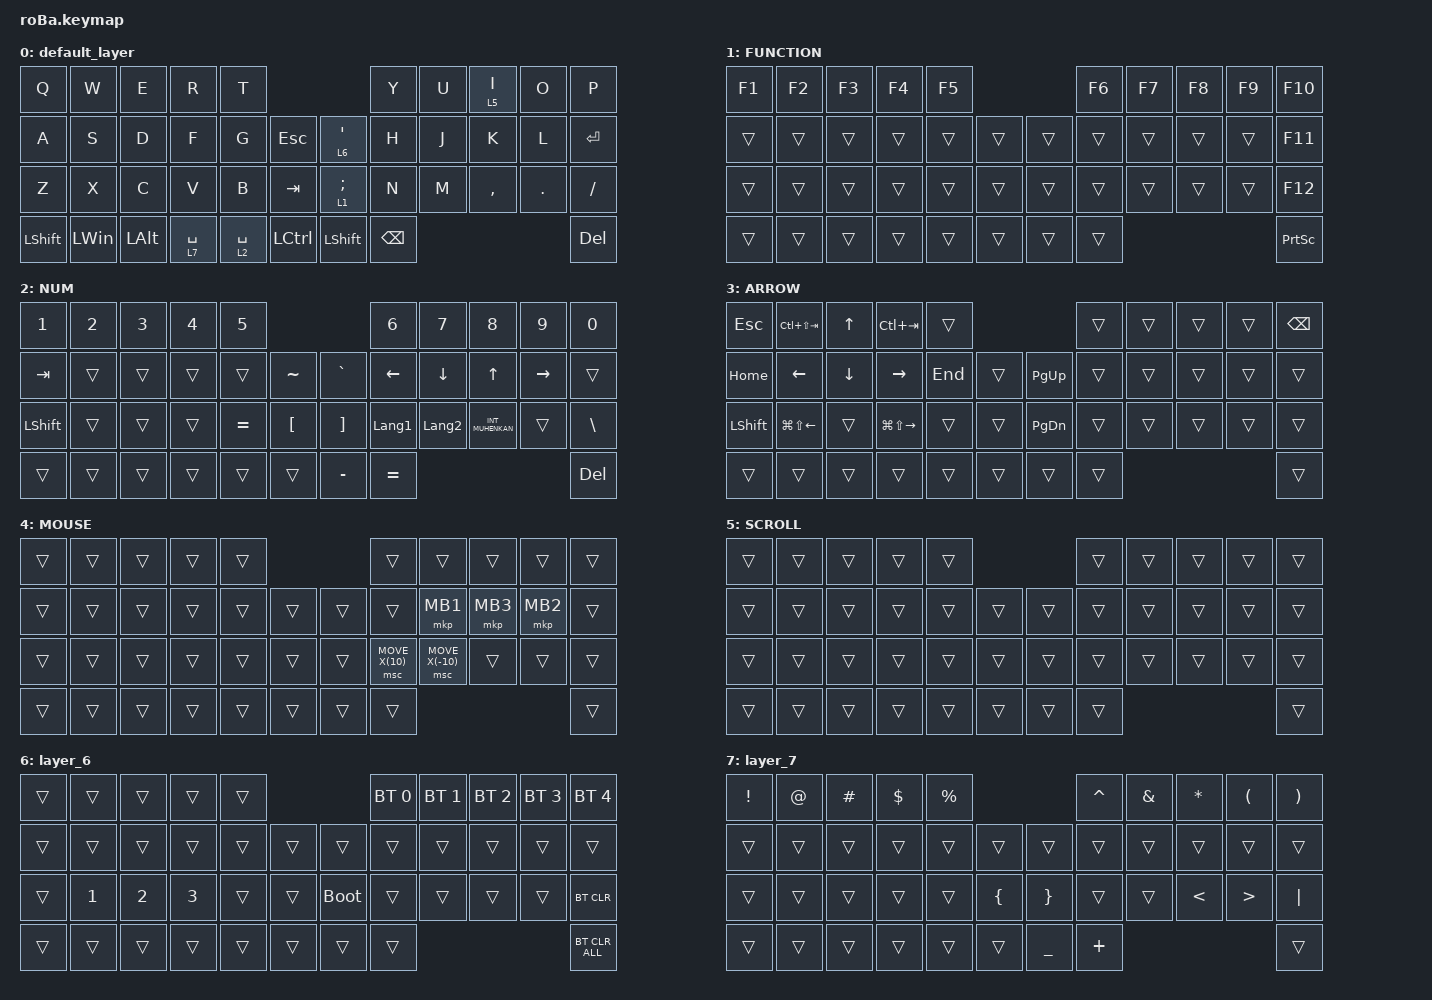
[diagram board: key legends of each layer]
#include <behaviors.dtsi>
#include <dt-bindings/zmk/bt.h>
#include <dt-bindings/zmk/keys.h>
#include <dt-bindings/zmk/pointing.h>

&mt {
    flavor = "balanced";
    quick-tap-ms = <0>;
};

&trackball {
    automouse-layer = <4>;
    scroll-layers = <5>;

    // arrows {
    //     layers = <3>;
    //     bindings =
    //         <&kp RIGHT_ARROW>,
    //         <&kp LEFT_ARROW>,
    //         <&kp UP_ARROW>,
    //         <&kp DOWN_ARROW>;
    //     tick = <10>;
    //     wait-ms = <5>;
    //     tap-ms = <5>;
    // };
};

/ {
    combos {
        compatible = "zmk,combos";

        tab {
            bindings = <&kp TAB>;
            key-positions = <11 12>;
        };

        shift_tab {
            bindings = <&kp LS(TAB)>;
            key-positions = <12 13>;
        };

        muhennkann {
            bindings = <&to_layer_0 INT_MUHENKAN>;
            key-positions = <11 10>;
        };

        double_quotation {
            bindings = <&kp DOUBLE_QUOTES>;
            key-positions = <20 21>;
        };

        eq {
            bindings = <&kp EQUAL>;
            key-positions = <24 25>;
        };

        Lang1 {
            bindings = <&kp LS(LANGUAGE_1)>;
            key-positions = <29 30>;
        };

        Lang2 {
            bindings = <&kp LS(LANGUAGE_2)>;
            key-positions = <17 18>;
        };
    };

    macros {
        to_layer_0: to_layer_0 {
            compatible = "zmk,behavior-macro-one-param";
            #binding-cells = <1>;
            bindings = <&to 0 &macro_param_1to1 &kp MACRO_PLACEHOLDER>;
            label = "TO_LAYER_0";
        };
    };

    behaviors {
        lt_to_layer_0: lt_to_layer_0 {
            compatible = "zmk,behavior-hold-tap";
            label = "LAYER_TAP_TO_0";
            bindings = <&mo>, <&to_layer_0>;

            #binding-cells = <2>;
            tapping-term-ms = <200>;
        };
    };

    keymap {
        compatible = "zmk,keymap";

        default_layer {
            bindings = <
&kp Q           &kp W         &kp E         &kp R                   &kp T                                                      &kp Y          &kp U  &lt 5 I    &kp O    &kp P
&kp A           &kp S         &kp D         &kp F                   &kp G        &kp ESC        &lt_to_layer_0 6 SINGLE_QUOTE  &kp H          &kp J  &kp K      &kp L    &kp RET
&kp Z           &kp X         &kp C         &kp V                   &kp B        &kp TAB        &lt_to_layer_0 1 SEMI          &kp N          &kp M  &kp COMMA  &kp DOT  &kp SLASH
&kp LEFT_SHIFT  &kp LEFT_WIN  &kp LEFT_ALT  &lt_to_layer_0 7 SPACE  &lt 2 SPACE  &kp LCTRL      &kp LEFT_SHIFT                 &kp BACKSPACE                             &kp DELETE
            >;
        };

        FUNCTION {
            bindings = <
&kp F1  &kp F2  &kp F3  &kp F4  &kp F5                      &kp F6  &kp F7  &kp F8  &kp F9  &kp F10
&trans  &trans  &trans  &trans  &trans  &trans      &trans  &trans  &trans  &trans  &trans  &kp F11
&trans  &trans  &trans  &trans  &trans  &trans      &trans  &trans  &trans  &trans  &trans  &kp F12
&trans  &trans  &trans  &trans  &trans  &trans      &trans  &trans                          &kp PRINTSCREEN
            >;
        };

        NUM {
            bindings = <
&kp NUMBER_1    &kp NUMBER_2  &kp NUMBER_3  &kp NUMBER_4  &kp N5                                              &kp NUMBER_6    &kp N7          &kp N8            &kp N9     &kp N0
&kp TAB         &trans        &trans        &trans        &trans     &kp TILDE             &kp GRAVE          &kp LEFT        &kp DOWN_ARROW  &kp UP_ARROW      &kp RIGHT  &trans
&kp LEFT_SHIFT  &trans        &trans        &trans        &kp EQUAL  &kp LEFT_BRACKET      &kp RIGHT_BRACKET  &kp LANGUAGE_1  &kp LANGUAGE_2  &kp INT_MUHENKAN  &trans     &kp BACKSLASH
&trans          &trans        &trans        &trans        &trans     &trans                &kp MINUS          &kp EQUAL                                                    &kp DEL
            >;
        };

        ARROW {
            bindings = <
&kp ESCAPE      &kp LC(LS(TAB))         &kp UP_ARROW    &kp LC(TAB)              &trans                              &trans  &trans  &trans  &trans  &kp BACKSPACE
&kp HOME        &kp LEFT_ARROW          &kp DOWN_ARROW  &kp RIGHT_ARROW          &kp END  &trans      &kp PAGE_UP    &trans  &trans  &trans  &trans  &trans
&kp LEFT_SHIFT  &kp LG(LS(LEFT_ARROW))  &trans          &kp LG(LS(RIGHT_ARROW))  &trans   &trans      &kp PAGE_DOWN  &trans  &trans  &trans  &trans  &trans
&trans          &trans                  &trans          &trans                   &trans   &trans      &trans         &trans                          &trans
            >;
        };

        MOUSE {
            bindings = <
&trans  &trans  &trans  &trans  &trans                      &trans           &trans            &trans    &trans    &trans
&trans  &trans  &trans  &trans  &trans  &trans      &trans  &trans           &mkp MB1          &mkp MB3  &mkp MB2  &trans
&trans  &trans  &trans  &trans  &trans  &trans      &trans  &msc MOVE_X(10)  &msc MOVE_X(-10)  &trans    &trans    &trans
&trans  &trans  &trans  &trans  &trans  &trans      &trans  &trans                                                 &trans
            >;
        };

        SCROLL {
            bindings = <
&trans  &trans  &trans  &trans  &trans                      &trans  &trans  &trans  &trans  &trans
&trans  &trans  &trans  &trans  &trans  &trans      &trans  &trans  &trans  &trans  &trans  &trans
&trans  &trans  &trans  &trans  &trans  &trans      &trans  &trans  &trans  &trans  &trans  &trans
&trans  &trans  &trans  &trans  &trans  &trans      &trans  &trans                          &trans
            >;
        };

        layer_6 {
            bindings = <
&trans  &trans        &trans        &trans        &trans                           &bt BT_SEL 0  &bt BT_SEL 1  &bt BT_SEL 2  &bt BT_SEL 3  &bt BT_SEL 4
&trans  &trans        &trans        &trans        &trans  &trans      &trans       &trans        &trans        &trans        &trans        &trans
&trans  &kp NUMBER_1  &kp NUMBER_2  &kp NUMBER_3  &trans  &trans      &bootloader  &trans        &trans        &trans        &trans        &bt BT_CLR
&trans  &trans        &trans        &trans        &trans  &trans      &trans       &trans                                                  &bt BT_CLR_ALL
            >;
        };

        layer_7 {
            bindings = <
&kp EXCLAMATION  &kp AT_SIGN  &kp HASH  &kp DOLLAR  &kp PERCENT                                       &kp CARET  &kp AMPERSAND  &kp ASTERISK   &kp LEFT_PARENTHESIS  &kp RIGHT_PARENTHESIS
&trans           &trans       &trans    &trans      &trans       &trans              &trans           &trans     &trans         &trans         &trans                &trans
&trans           &trans       &trans    &trans      &trans       &kp LEFT_BRACE      &kp RIGHT_BRACE  &trans     &trans         &kp LESS_THAN  &kp GREATER_THAN      &kp PIPE
&trans           &trans       &trans    &trans      &trans       &trans              &kp UNDERSCORE   &kp PLUS                                                       &trans
            >;
        };
    };
};
